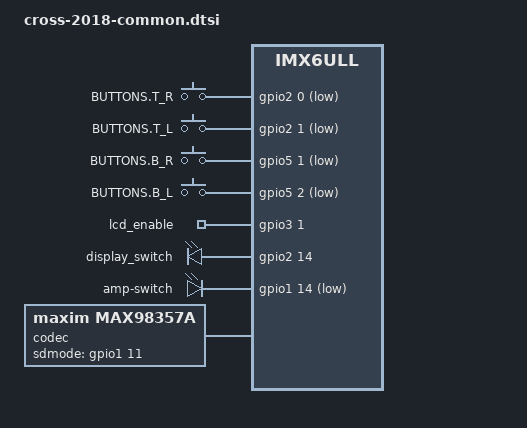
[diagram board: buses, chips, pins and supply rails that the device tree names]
/*
 * Copyright (C) 2020 CompeGPS Team S.L.
 * All rights reserved
 *
 */

#include <dt-bindings/input/input.h>
#include "imx6ull.dtsi"
#include "imx6ul-imx6ull-var-dart-common.dtsi"

/ {
	keys {
		compatible = "gpio-keys";
		pinctrl-names = "default";
		pinctrl-0 = <&pinctrl_keys>;

		button_tr {
			label = "BUTTONS.T_R";
			gpios = <&gpio2 0 GPIO_ACTIVE_LOW>;
			linux,code = <KEY_F1>;
			gpio-key,wakeup;
		};

		button_tl {
			label = "BUTTONS.T_L";
			gpios = <&gpio2 1 GPIO_ACTIVE_LOW>;
			linux,code = <KEY_F2>;
			gpio-key,wakeup;
		};

		button_br {
			label = "BUTTONS.B_R";
			gpios = <&gpio5 1 GPIO_ACTIVE_LOW>;
			linux,code = <KEY_F4>;
			gpio-key,wakeup;
		};

		button_bl {
			label = "BUTTONS.B_L";
			gpios = <&gpio5 2 GPIO_ACTIVE_LOW>;
			linux,code = <KEY_F3>;
			gpio-key,wakeup;
		};	
	};

	lcd-control {
		compatible = "gpio-leds";
		lcd_enable {
			label = "lcd_enable";
			gpios = <&gpio3 1 GPIO_ACTIVE_HIGH>;
			default-state = "on";
		};
		display_switch {
			label = "display_switch";
			gpios = <&gpio2 14 GPIO_ACTIVE_HIGH>;
			default-state = "on";
        };
	};
	
	// TODO: Remove when cross protos are not used (reduces power consumption by now)
	audio-amp {		
		compatible = "gpio-leds";
		amp-switch {
			label = "amp-switch";
			gpios = <&gpio1 14 GPIO_ACTIVE_LOW>;
			default-state = "on";
		};		
	};

	codec: max98357a@0 {
		compatible = "maxim,max98357a";
		sdmode-gpios = <&gpio1 11 0>;
	};

	sound {
		compatible = "fsl,imx-max98357a-audio";
		ssi-controller = <&sai2>;
		codec = <&codec>;
	};
};

&iomuxc {
	pinctrl-names = "default";
	pinctrl-0 = <&pinctrl_hog_1 &pinctrl_hog_2>;
	imx6ul-evk {
		// TODO: Remove when cross protos are not used (reduces power consumption by now)
		pinctrl_hog_2: hoggrp-2 {
			fsl,pins = <				
				/*-------------------------------audio switch--------------------------------*/									
				MX6UL_PAD_JTAG_TCK__GPIO1_IO14			0x1b0b0 // audio					
			>;			
		};

		pinctrl_keys: keys1grp {
			fsl,pins = <
				MX6UL_PAD_ENET1_RX_DATA1__GPIO2_IO01	0x1b0b0 
				MX6UL_PAD_ENET1_RX_DATA0__GPIO2_IO00	0x1b0b0 
				MX6UL_PAD_SNVS_TAMPER1__GPIO5_IO01		0x110b0
				MX6UL_PAD_SNVS_TAMPER2__GPIO5_IO02		0x110b0				
			>;
		};	
	};
};	

